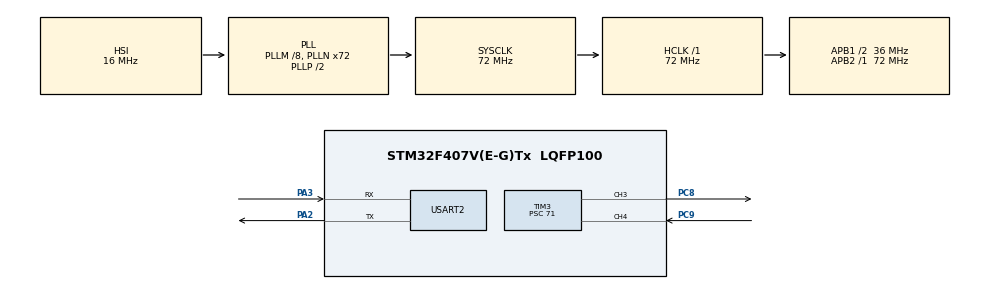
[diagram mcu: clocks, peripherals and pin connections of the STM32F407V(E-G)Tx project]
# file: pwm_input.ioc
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Mcu.Family=STM32F4
Mcu.Name=STM32F407V(E-G)Tx
Mcu.Package=LQFP100
NVIC.PriorityGroup=NVIC_PRIORITYGROUP_4
NVIC.TIM3_IRQn=true\:1\:0\:true\:false\:true\:true\:true\:true
PA2.Mode=Asynchronous
PA2.Signal=USART2_TX
PA3.Mode=Asynchronous
PA3.Signal=USART2_RX
PC8.Signal=S_TIM3_CH3
PC9.Signal=S_TIM3_CH4
PH0-OSC_IN.Mode=HSE-External-Oscillator
PH0-OSC_IN.Signal=RCC_OSC_IN
PH1-OSC_OUT.Mode=HSE-External-Oscillator
PH1-OSC_OUT.Signal=RCC_OSC_OUT
ProjectManager.HeapSize=0x200
ProjectManager.StackSize=0x400
ProjectManager.TargetToolchain=MDK-ARM V5.32
RCC.48MHZClocksFreq_Value=36000000
RCC.AHBFreq_Value=72000000
RCC.APB1CLKDivider=RCC_HCLK_DIV2
RCC.APB1Freq_Value=36000000
RCC.APB1TimFreq_Value=72000000
RCC.APB2Freq_Value=72000000
RCC.APB2TimFreq_Value=72000000
RCC.CortexFreq_Value=72000000
RCC.HCLKFreq_Value=72000000
RCC.HSE_VALUE=25000000
RCC.HSI_VALUE=16000000
RCC.LSE_VALUE=32768
RCC.PLLM=8
RCC.PLLN=72
RCC.SYSCLKFreq_VALUE=72000000
RCC.SYSCLKSource=RCC_SYSCLKSOURCE_PLLCLK
RCC.VCOOutputFreq_Value=144000000
SH.S_TIM3_CH3.0=TIM3_CH3,PWM Generation3 CH3
SH.S_TIM3_CH4.0=TIM3_CH4,Input_Capture4_from_TI4
TIM3.AutoReloadPreload=TIM_AUTORELOAD_PRELOAD_ENABLE
TIM3.Channel-Input_Capture4_from_TI4=TIM_CHANNEL_4
TIM3.Channel-PWM\ Generation3\ CH3=TIM_CHANNEL_3
TIM3.Prescaler=71
USART2.VirtualMode=VM_ASYNC
VP_TIM3_VS_ClockSourceINT.Mode=Internal
board=custom

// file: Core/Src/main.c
/* USER CODE BEGIN Header */
/**
  ******************************************************************************
  * @file           : main.c
  * @brief          : Main program body
  ******************************************************************************
  * @attention
  *
  * Copyright (c) 2023 STMicroelectronics.
  * All rights reserved.
  *
  * This software is licensed under terms that can be found in the LICENSE file
  * in the root directory of this software component.
  * If no LICENSE file comes with this software, it is provided AS-IS.
  *
  ******************************************************************************
  */
/* USER CODE END Header */
#include "main.h"
#include "tim.h"
#include "usart.h"
#include "gpio.h"
#include "stdio.h"

void SystemClock_Config(void);

/* USER CODE BEGIN 0 */

int fputc(int ch,FILE *f)
{
HAL_UART_Transmit(&huart2,(uint8_t*)&ch,1,1000);
	return 0;
}

/* USER CODE BEGIN PV */
uint32_t capture_Buf[3]={0};   //捕获值
uint8_t capture_Cnt=0;  //设置状态标志位
uint8_t overload_Cnt=0; //溢出标志
uint32_t high_time;     //高电平时间
uint32_t low_time;      //低电平时间
double HL_time;
double LL_time;
double fre;		//频率
double duty;  //占空比

/* USER CODE END PV */
/* USER CODE BEGIN PFP */
void HAL_TIM_IC_CaptureCallback(TIM_HandleTypeDef *htim)
{
	if (htim->Instance==htim3.Instance)
	{
	switch(capture_Cnt){
		case 0:
			capture_Buf[0]=HAL_TIM_ReadCapturedValue(&htim3,TIM_CHANNEL_4);  //得到捕获值
		__HAL_TIM_SET_CAPTUREPOLARITY(&htim3,TIM_CHANNEL_4,TIM_ICPOLARITY_FALLING);  //设置下降捕获
		capture_Cnt++;
		break;

		case 1:
			capture_Buf[1]=HAL_TIM_ReadCapturedValue(&htim3,TIM_CHANNEL_4);  //得到捕获值
		__HAL_TIM_SET_CAPTUREPOLARITY(&htim3,TIM_CHANNEL_4,TIM_ICPOLARITY_RISING);  //设置上升捕获
		capture_Cnt++;
		break;

		case 2:
			capture_Buf[2]=HAL_TIM_ReadCapturedValue(&htim3,TIM_CHANNEL_4);  //得到捕获值
		HAL_TIM_IC_Stop_IT(&htim3,TIM_CHANNEL_4);  //停止捕获
		high_time=capture_Buf[1]-capture_Buf[0]+overload_Cnt*0xFFFFFFFF;  //高电平时间
		low_time=capture_Buf[2]-capture_Buf[1]+overload_Cnt*0xFFFFFFFF;  //低电平时间
		HL_time=high_time*0.001;
		LL_time=low_time*0.001;
		fre=1/(HL_time+LL_time)*1000;
		duty=HL_time/(HL_time+LL_time)*100;
		capture_Cnt=0;  //?????
		overload_Cnt=0;  //???????
				__HAL_TIM_SET_CAPTUREPOLARITY(&htim3,TIM_CHANNEL_4,TIM_INPUTCHANNELPOLARITY_RISING);
		HAL_TIM_IC_Start_IT(&htim3,TIM_CHANNEL_4);
		break;

	}
	}
}
/* USER CODE END PFP */

/* USER CODE END 0 */

int main(void)
{

  /* MCU Configuration--------------------------------------------------------*/

  /* Reset of all peripherals, Initializes the Flash interface and the Systick. */
	int pwm_dut_v=0;
	int rate=65535/100;
  HAL_Init();

  /* Configure the system clock */
  SystemClock_Config();

  /* Initialize all configured peripherals */
  MX_GPIO_Init();
  MX_TIM3_Init();
  MX_USART2_UART_Init();
  /* USER CODE BEGIN 2 */
  /* USER CODE BEGIN 2 */

	// HAL_UART_Transmit(&huart1,"1",1,0);
	HAL_TIM_PWM_Start(&htim3,TIM_CHANNEL_3);
	__HAL_TIM_SET_CAPTUREPOLARITY(&htim3,TIM_CHANNEL_3,TIM_INPUTCHANNELPOLARITY_RISING);  //????????
	HAL_TIM_IC_Start_IT(&htim3,	TIM_CHANNEL_4);  //??????

  /* USER CODE END 2 */

  /* Infinite loop */
  while (1)
  {
		///pwm输出
		pwm_dut_v++;
		HAL_Delay(5);
		HAL_TIM_PWM_Start(&htim3, TIM_CHANNEL_3);
		__HAL_TIM_SET_COMPARE(&htim3,TIM_CHANNEL_3,pwm_dut_v*rate);
		if(pwm_dut_v>=100)
			pwm_dut_v=0;

		///pwm捕获
		//printf("频率:%7.31fHz,%4.11f%%,高电平时间:%7.31fms,低电平时间:%7.31fms\r\n\r\n",fre,duty,HL_time,LL_time);
		printf("频率:%7.31fHz,占空比:%4.11f%%,高电平时间:%7.31fms,低电平时间:%7.31fms\r\n\r\n",fre,duty,HL_time,LL_time);
		HAL_Delay(1000);
  }
}

void SystemClock_Config(void)
{
  RCC_OscInitTypeDef RCC_OscInitStruct = {0};
  RCC_ClkInitTypeDef RCC_ClkInitStruct = {0};

  /** Configure the main internal regulator output voltage
  */
  __HAL_RCC_PWR_CLK_ENABLE();
  __HAL_PWR_VOLTAGESCALING_CONFIG(PWR_REGULATOR_VOLTAGE_SCALE1);

  /** Initializes the RCC Oscillators according to the specified parameters
  * in the RCC_OscInitTypeDef structure.
  */
  RCC_OscInitStruct.OscillatorType = RCC_OSCILLATORTYPE_HSI;
  RCC_OscInitStruct.HSIState = RCC_HSI_ON;
  RCC_OscInitStruct.HSICalibrationValue = RCC_HSICALIBRATION_DEFAULT;
  RCC_OscInitStruct.PLL.PLLState = RCC_PLL_ON;
  RCC_OscInitStruct.PLL.PLLSource = RCC_PLLSOURCE_HSI;
  RCC_OscInitStruct.PLL.PLLM = 8;
  RCC_OscInitStruct.PLL.PLLN = 72;
  RCC_OscInitStruct.PLL.PLLP = RCC_PLLP_DIV2;
  RCC_OscInitStruct.PLL.PLLQ = 4;
  if (HAL_RCC_OscConfig(&RCC_OscInitStruct) != HAL_OK)
  {
    Error_Handler();
  }

  /** Initializes the CPU, AHB and APB buses clocks
  */
  RCC_ClkInitStruct.ClockType = RCC_CLOCKTYPE_HCLK|RCC_CLOCKTYPE_SYSCLK
                              |RCC_CLOCKTYPE_PCLK1|RCC_CLOCKTYPE_PCLK2;
  RCC_ClkInitStruct.SYSCLKSource = RCC_SYSCLKSOURCE_PLLCLK;
  RCC_ClkInitStruct.AHBCLKDivider = RCC_SYSCLK_DIV1;
  RCC_ClkInitStruct.APB1CLKDivider = RCC_HCLK_DIV2;
  RCC_ClkInitStruct.APB2CLKDivider = RCC_HCLK_DIV1;

  if (HAL_RCC_ClockConfig(&RCC_ClkInitStruct, FLASH_LATENCY_2) != HAL_OK)
  {
    Error_Handler();
  }
}

void Error_Handler(void)
{
  __disable_irq();
  while (1)
  {
  }
}
